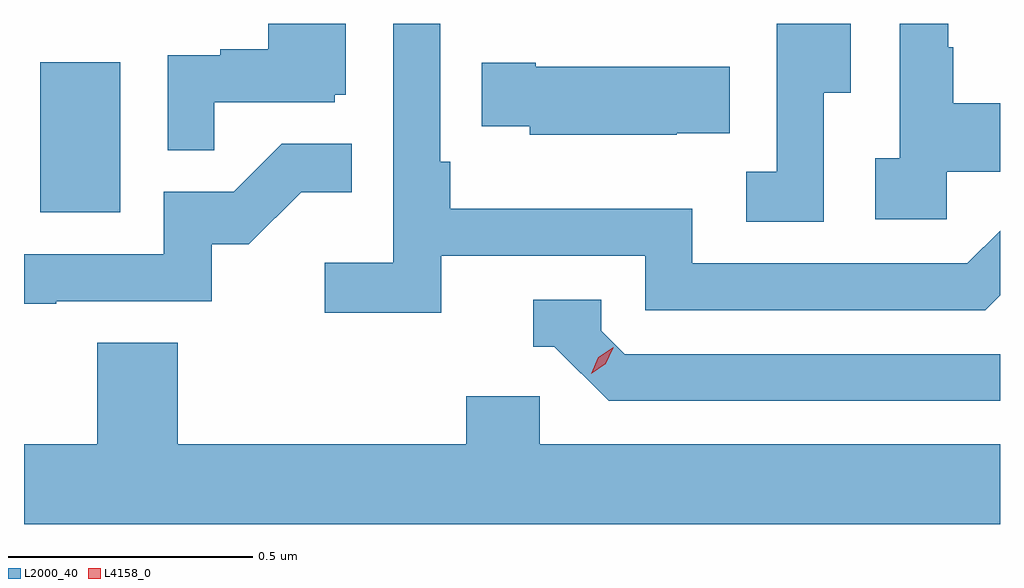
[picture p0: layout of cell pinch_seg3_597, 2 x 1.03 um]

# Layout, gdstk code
import gdstk
lib = gdstk.Library(unit=1e-6, precision=1e-09)
def R(c, l, rs):  # rectangles x0, y0, x1, y1
    for r in rs: c.add(gdstk.rectangle(r[:2], r[2:], *l))
def P(c, l, *ps):  # polygons
    for p in ps: c.add(gdstk.Polygon(p, *l))
L2000_40 = (2000, 40)
L4158_0 = (4158, 0)

pinch_seg3_597 = lib.new_cell('pinch_seg3_597')
R(pinch_seg3_597, L2000_40, [(1053.098,704.22,1053.262,704.527)])
P(pinch_seg3_597, L2000_40, [(1053.455,704.445),(1053.702,704.445),(1053.702,704.46),(1053.724,704.46),(1053.724,704.606),(1053.566,704.606),(1053.566,704.554),(1053.467,704.554),(1053.467,704.541),(1053.36,704.541),(1053.36,704.347),(1053.455,704.347)],
  [(1054.704,704.464),(1054.759,704.464),(1054.759,704.606),(1054.608,704.606),(1054.608,704.303),(1054.545,704.303),(1054.545,704.2),(1054.704,704.2)],
  [(1053.92,704.13),(1054.338,704.13),(1054.338,704.019),(1055.035,704.019),(1055.065,704.049),(1055.065,704.182),(1054.998,704.115),(1054.434,704.115),(1054.434,704.227),(1053.938,704.227),(1053.938,704.323),(1053.918,704.323),(1053.918,704.606),(1053.822,704.606),(1053.822,704.116),(1053.681,704.116),(1053.681,704.014),(1053.92,704.014)],
  [(1054.956,704.303),(1055.065,704.303),(1055.065,704.443),(1054.969,704.443),(1054.969,704.558),(1054.959,704.558),(1054.959,704.606),(1054.86,704.606),(1054.86,704.33),(1054.809,704.33),(1054.809,704.205),(1054.956,704.205)],
  [(1054.403,704.381),(1054.511,704.381),(1054.511,704.518),(1054.114,704.518),(1054.114,704.526),(1054.003,704.526),(1054.003,704.396),(1054.101,704.396),(1054.101,704.378),(1054.403,704.378)],
  [(1053.131,704.037),(1053.45,704.037),(1053.45,704.154),(1053.526,704.154),(1053.633,704.261),(1053.737,704.261),(1053.737,704.36),(1053.593,704.36),(1053.495,704.262),(1053.351,704.262),(1053.351,704.133),(1053.065,704.133),(1053.065,704.032),(1053.131,704.032)],
  [(1055.065,703.929),(1054.296,703.929),(1054.248,703.977),(1054.248,704.04),(1054.109,704.04),(1054.109,703.944),(1054.152,703.944),(1054.263,703.833),(1055.065,703.833)],
  [(1055.065,703.744),(1054.122,703.744),(1054.122,703.842),(1053.971,703.842),(1053.971,703.744),(1053.38,703.744),(1053.38,703.952),(1053.215,703.952),(1053.215,703.744),(1053.065,703.744),(1053.065,703.58),(1055.065,703.58)])
P(pinch_seg3_597, L4158_0, [(1054.227,703.889),(1054.227,703.889),(1054.242,703.922),(1054.272,703.943),(1054.272,703.943),(1054.272,703.942),(1054.257,703.909),(1054.227,703.889)])

lib.write_gds('pinch_seg3_597.gds')
